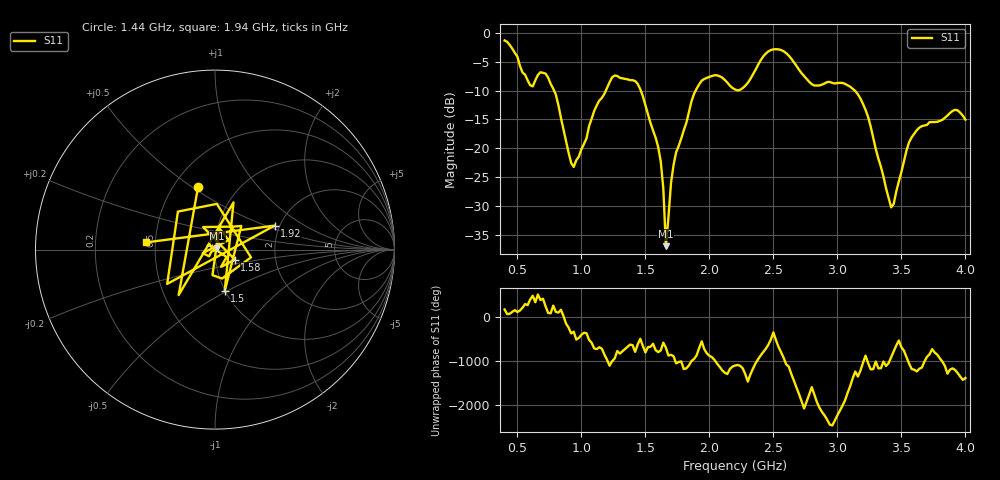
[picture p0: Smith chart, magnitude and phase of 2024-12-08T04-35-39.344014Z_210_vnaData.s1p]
!Created with skrf (http://scikit-rf.org).
# Hz S RI R 50.0
!freq ReS11 ImS11
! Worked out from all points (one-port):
!   181 points, 400 MHz to 4 GHz, reference 50 ohm
!   lowest |S11| = -37.0 dB at 1.66 GHz (marker M1), VSWR 1.03, Z = 51.2 + j0.714 ohm
!   |S11| at or under -10 dB: 786.3 MHz to 1.191 GHz (405.1 MHz wide, 41 % of centre); 1.464 GHz to 1.893 GHz (429.2 MHz wide, 25.6 % of centre); 3.136 GHz to end of sweep
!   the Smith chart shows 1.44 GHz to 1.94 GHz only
!   S11 on the Smith chart (normalised r, x): 1.44 GHz: 0.66, +0.53; 1.5 GHz: 1.00, -0.49; 1.58 GHz: 1.24, -0.14; 1.92 GHz: 1.88, +0.58; 1.94 GHz: 0.45, +0.04
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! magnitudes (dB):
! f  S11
! 400 MHz  -1.3
! 600 MHz  -9.1
! 720 MHz  -7.1
! 800 MHz  -10.7
! 860 MHz  -16.8
! 940 MHz  -23.3
! 1.12 GHz  -12.6
! 1.3 GHz  -7.8
! 1.44 GHz  -8.9
! 1.5 GHz  -12.5
! 1.58 GHz  -18.2
! 1.62 GHz  -22.3
! 1.64 GHz  -27.0
! 1.66 GHz  -37.0
! 1.7 GHz  -26.0
! 1.76 GHz  -19.6
! 1.92 GHz  -8.9
! 1.94 GHz  -8.3
! 2.2 GHz  -9.8
! 2.48 GHz  -3.0
! 2.66 GHz  -5.1
! 2.82 GHz  -9.1
! 3.1 GHz  -9.3
! 3.24 GHz  -14.6
! 3.42 GHz  -30.3
! 3.56 GHz  -19.0
! 3.92 GHz  -13.3
! 4 GHz  -15.0
